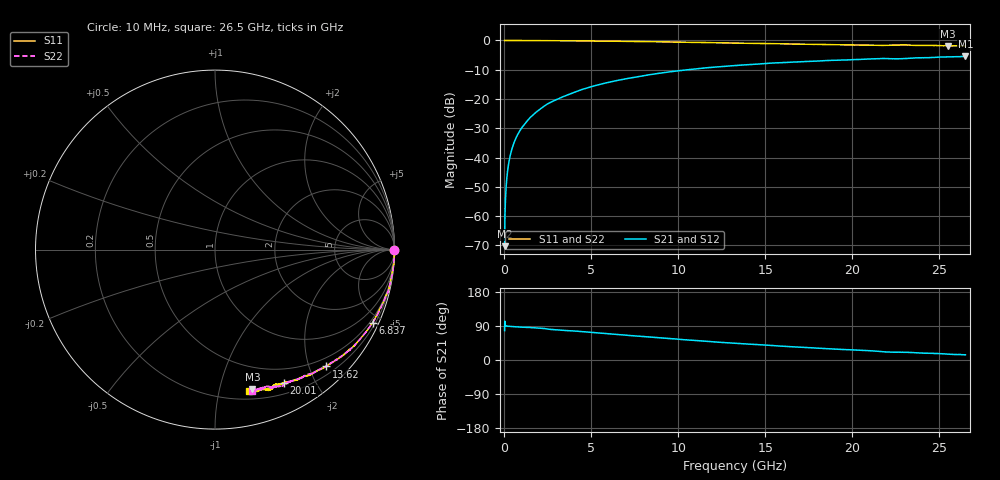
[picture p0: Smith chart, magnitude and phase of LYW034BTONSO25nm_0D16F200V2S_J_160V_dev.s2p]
!Keysight Technologies,N5222B,MY61253708,A.15.00.15
!Date: Wednesday, June 19, 2024 10:16:41
!Correction: S11(C  2-Port  )
!S21(C  2-Port  )
!S12(C  2-Port  )
!S22(C  2-Port  )
!S2P File: Measurements: S11, S21, S12, S22:
# Hz S  RI  R 50
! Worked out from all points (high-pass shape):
!   2651 points, 10 MHz to 26.5 GHz, reference 50 ohm
!   highest |S21| = -5.42 dB at 26.5 GHz (marker M1); lowest = -70.3 dB at 10 MHz (marker M2)
!   |S21| within 3 dB of the highest: 13.58 GHz to end of sweep
!   lowest |S11| = -1.9 dB at 25.5 GHz (marker M3), VSWR 9.19, Z = 14.4 - j63.2 ohm
!   |S11| at or under -10 dB: nowhere
!   |S22| runs from -1.8 to 0.0 dB; largest |S21 - S12| = 0.0058
!   S11 on the Smith chart (normalised r, x): 10 MHz: open; 6.837 GHz: 0.36, -4.51; 13.62 GHz: 0.34, -2.29; 20.01 GHz: 0.32, -1.60; 26.5 GHz: 0.27, -1.23
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1e7  0.9987 -0.0031  6.77e-05 0.000299  -7.78e-05 0.000419  0.9982 -0.00159
6.997736e7  1 -0.0051  -7.81e-06 0.00226  2.38e-05 0.00227  0.9998 -0.00469
1.599434e8  0.9999 -0.0112  6.6e-05 0.00523  6.54e-05 0.00522  0.9997 -0.0104
1.999283e8  0.9999 -0.0135  8.25e-05 0.00651  0.000108 0.00653  0.9998 -0.0126
2.599057e8  0.9997 -0.0176  0.000153 0.00846  0.000107 0.00848  0.9998 -0.0165
3.598679e8  0.9995 -0.0243  0.000258 0.0117  0.000272 0.0118  0.9996 -0.0234
4.898189e8  0.9988 -0.0328  0.000496 0.016  0.00051 0.016  0.9986 -0.0313
6.497585e8  0.9986 -0.0427  0.000873 0.0211  0.000866 0.0212  0.9986 -0.0411
8.396868e8  0.998 -0.0551  0.00142 0.0272  0.00146 0.0273  0.998 -0.0542
1.459453e9  0.9911 -0.097  0.00347 0.0476  0.00348 0.0476  0.9935 -0.0923
2.339121e9  0.9824 -0.1506  0.00971 0.077  0.00985 0.0772  0.9836 -0.1498
3.218789e9  0.9717 -0.206  0.0205 0.1027  0.0206 0.1031  0.9728 -0.2036
4.428332e9  0.9442 -0.2777  0.0372 0.1395  0.0374 0.1401  0.9466 -0.2733
6.837423e9  0.8777 -0.4064  0.089 0.1983  0.0899 0.1985  0.8807 -0.4029
8.846664e9  0.8078 -0.4987  0.1414 0.2346  0.1424 0.2348  0.8113 -0.4947
1.3255e10  0.634 -0.6403  0.2671 0.2604  0.2686 0.2599  0.6411 -0.6364
1.362486e10  0.6195 -0.6508  0.2768 0.2597  0.2776 0.2589  0.6259 -0.6441
1.767333e10  0.4634 -0.7218  0.3732 0.2348  0.3758 0.2329  0.4778 -0.7176
2.001245e10  0.384 -0.7421  0.4192 0.2098  0.4217 0.207  0.4011 -0.7406
2.209166e10  0.3279 -0.7567  0.4567 0.1743  0.4578 0.1713  0.3264 -0.762
2.550038e10  0.2085 -0.7763  0.5068 0.1387  0.5076 0.1381  0.2333 -0.7786
2.65e10  0.1889 -0.7902  0.5202 0.1273  0.5192 0.1236  0.2068 -0.7886
